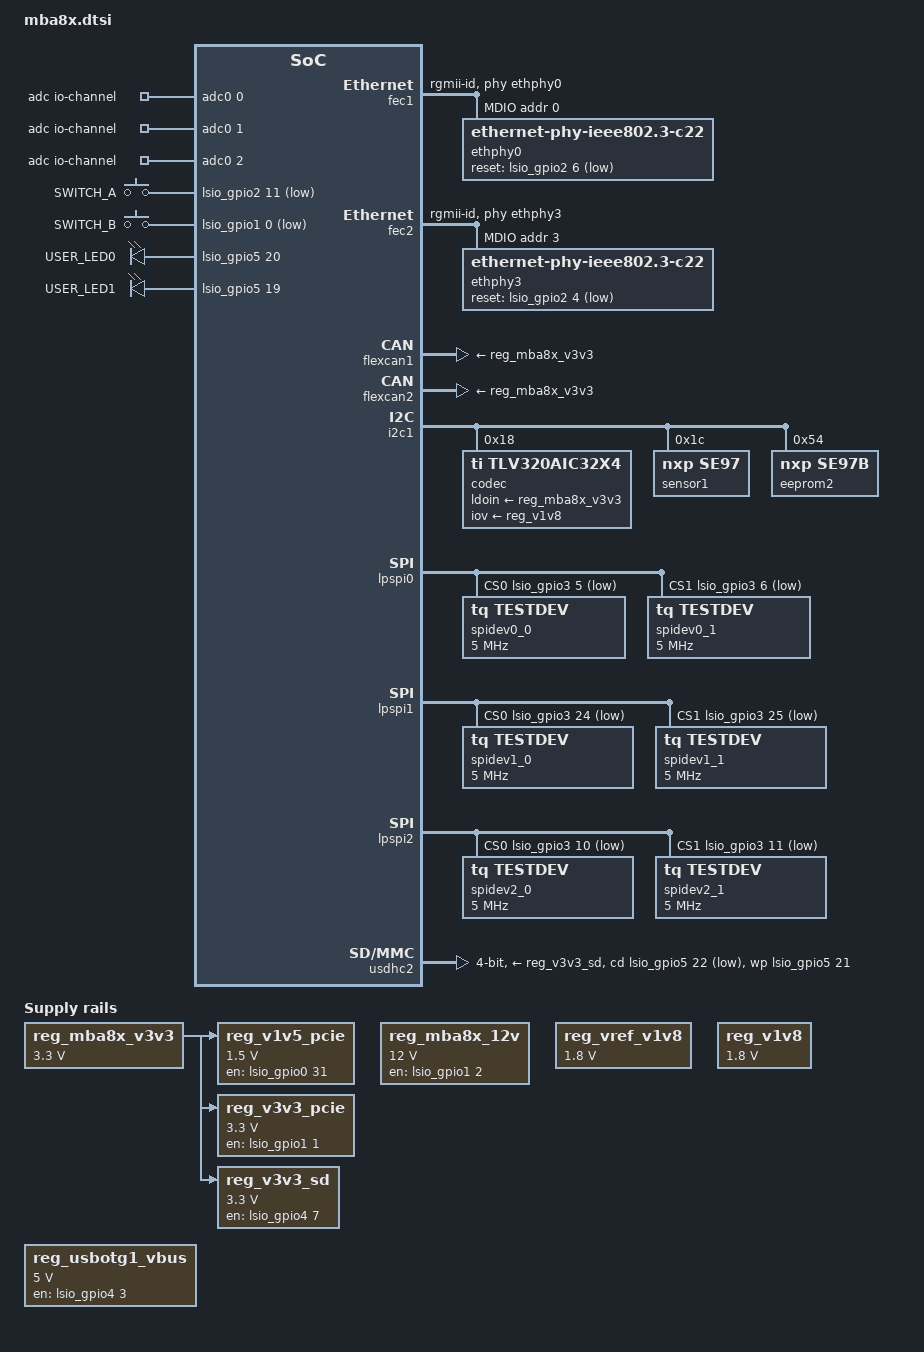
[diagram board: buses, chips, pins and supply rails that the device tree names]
// SPDX-License-Identifier: (GPL-2.0-or-later OR MIT)
/*
 * Copyright 2019-2021 TQ-Systems GmbH
 */

#include <dt-bindings/net/ti-dp83867.h>

/ {
	adc {
		compatible = "iio-hwmon";
		io-channels = <&adc0 0>, <&adc0 1>, <&adc0 2>;
	};

	gpio-keys {
		compatible = "gpio-keys";
		pinctrl-names = "default";
		pinctrl-0 = <&pinctrl_gpiokeys>;
		autorepeat;

		switch1 {
			label = "SWITCH_A";
			linux,code = <BTN_0>;
			gpios = <&lsio_gpio2 11 GPIO_ACTIVE_LOW>;
			wakeup-source;
		};

		switch2 {
			label = "SWITCH_B";
			linux,code = <BTN_1>;
			gpios = <&lsio_gpio1 0 GPIO_ACTIVE_LOW>;
			wakeup-source;
		};
	};

	gpio-leds {
		compatible = "gpio-leds";
		pinctrl-names = "default";
		pinctrl-0 = <&pinctrl_gpioled>;

		user-led0 {
			label = "USER_LED0";
			gpios = <&lsio_gpio5 20 GPIO_ACTIVE_HIGH>;
			linux,default-trigger = "heartbeat";
		};

		user-led1 {
			label = "USER_LED1";
			gpios = <&lsio_gpio5 19 GPIO_ACTIVE_HIGH>;
			default-state = "on";
		};
	};

	reg_mba8x_v3v3: mba8x_v3v3 {
		compatible = "regulator-fixed";
		regulator-name = "MBa8x-V3V3";
		regulator-min-microvolt = <3300000>;
		regulator-max-microvolt = <3300000>;
		regulator-always-on;
	};

	reg_mba8x_12v: mba8x_12v {
		pinctrl-names = "default";
		pinctrl-0 = <&pinctrl_reg_mba8x_12v>;
		compatible = "regulator-fixed";
		regulator-name = "MBa8x-V12";
		regulator-min-microvolt = <12000000>;
		regulator-max-microvolt = <12000000>;
		enable-active-high;
		gpio = <&lsio_gpio1 2 GPIO_ACTIVE_HIGH>;
	};

	reg_v1v5_pcie: v1v5_pcie {
		pinctrl-names = "default";
		pinctrl-0 = <&pinctrl_reg_pcie_v1v5>;
		compatible = "regulator-fixed";
		regulator-name = "V1V5_PCIE";
		regulator-min-microvolt = <1500000>;
		regulator-max-microvolt = <1500000>;
		vin-supply = <&reg_mba8x_v3v3>;
		enable-active-high;
		gpio = <&lsio_gpio0 31 GPIO_ACTIVE_HIGH>;
	};

	reg_vref_v1v8: regulator-vref-v1v8 {
		compatible = "regulator-fixed";
		regulator-name = "VREF_V1V8";
		regulator-min-microvolt = <1800000>;
		regulator-max-microvolt = <1800000>;
		regulator-always-on;
	};

	reg_v1v8: regulator-v1v8 {
		compatible = "regulator-fixed";
		regulator-name = "MBa8x-V1V8";
		regulator-min-microvolt = <1800000>;
		regulator-max-microvolt = <1800000>;
		regulator-always-on;
	};

	reg_v3v3_pcie: v3v3_pcie {
		pinctrl-names = "default";
		pinctrl-0 = <&pinctrl_reg_pcie_v3v3>;
		compatible = "regulator-fixed";
		regulator-name = "V3V3_PCIE";
		regulator-min-microvolt = <3300000>;
		regulator-max-microvolt = <3300000>;
		vin-supply = <&reg_mba8x_v3v3>;
		enable-active-high;
		gpio = <&lsio_gpio1 1 GPIO_ACTIVE_HIGH>;
		regulator-always-on;
	};

	reg_v3v3_sd: v3v3_sd {
		pinctrl-names = "default";
		pinctrl-0 = <&pinctrl_reg_v3v3_sd>;
		compatible = "regulator-fixed";
		regulator-name = "V3V3_SD";
		regulator-min-microvolt = <3300000>;
		regulator-max-microvolt = <3300000>;
		vin-supply = <&reg_mba8x_v3v3>;
		gpio = <&lsio_gpio4 7 GPIO_ACTIVE_HIGH>;
		enable-active-high;
		regulator-boot-on;
		off-on-delay-us = <200000>;
	};

	reg_usbotg1_vbus: regulator-usbotg1-vbus {
		compatible = "regulator-fixed";
		regulator-name = "USBOTG1_VBUS";
		pinctrl-names = "default";
		pinctrl-0 = <&pinctrl_reg_usbotg1_vbus>;
		regulator-min-microvolt = <5000000>;
		regulator-max-microvolt = <5000000>;
		gpio = <&lsio_gpio4 3 GPIO_ACTIVE_HIGH>;
		enable-active-high;
	};

	reserved-memory {
		#address-cells = <2>;
		#size-cells = <2>;
		ranges;

		dsp_reserved: dsp@92400000 {
			reg = <0 0x92400000 0 0x1000000>;
			no-map;
		};
		dsp_reserved_heap: dsp_reserved_heap {
			reg = <0 0x93400000 0 0xef0000>;
			no-map;
		};

		/* global autoconfigured region for contiguous allocations */
		linux,cma {
			compatible = "shared-dma-pool";
			reusable;
			size = <0 0x3c000000>;
			alloc-ranges = <0 0x96000000 0 0x3c000000>;
			linux,cma-default;
		};
	};

	sound {
		compatible = "fsl,imx-audio-tlv320aic32x4";
		model = "tqm-tlv320aic32";
		ssi-controller = <&sai1>;
		audio-codec = <&codec>;
	};
};

&fec1 {
	pinctrl-names = "default";
	pinctrl-0 = <&pinctrl_fec1>;
	phy-mode = "rgmii-id";
	phy-handle = <&ethphy0>;
	fsl,magic-packet;
	/* NXP starterkits share the mdio bus, we not */
	fsl,mii-exclusive;
	mac-address = [ 00 00 00 00 00 00 ];
	status = "okay";

	mdio {
		#address-cells = <1>;
		#size-cells = <0>;

		ethphy0: ethernet-phy@0 {
			compatible = "ethernet-phy-ieee802.3-c22";
			reg = <0>;
			ti,rx-internal-delay = <DP83867_RGMIIDCTL_2_25_NS>;
			ti,tx-internal-delay = <DP83867_RGMIIDCTL_2_25_NS>;
			ti,fifo-depth = <DP83867_PHYCR_FIFO_DEPTH_4_B_NIB>;
			ti,dp83867-rxctrl-strap-quirk;
			ti,clk-output-sel = <DP83867_CLK_O_SEL_OFF>;
			reset-gpios = <&lsio_gpio2 6 GPIO_ACTIVE_LOW>;
			reset-assert-us = <500000>;
			reset-deassert-us = <50000>;
			enet-phy-lane-no-swap;
			/* LED0: Link, LED2: activity */
			ti,led-function = <0x0100>;
			/* LED0/2: active High, driven by phy function */
			ti,led-ctrl = <0x1414>;
		};
	};
};

&fec2 {
	pinctrl-names = "default";
	pinctrl-0 = <&pinctrl_fec2>;
	phy-mode = "rgmii-id";
	phy-handle = <&ethphy3>;
	/* NXP starterkits share the mdio bus, we not */
	fsl,mii-exclusive;
	fsl,magic-packet;
	mac-address = [ 00 00 00 00 00 00 ];
	status = "okay";

	mdio {
		#address-cells = <1>;
		#size-cells = <0>;

		ethphy3: ethernet-phy@3 {
			compatible = "ethernet-phy-ieee802.3-c22";
			reg = <3>;
			ti,rx-internal-delay = <DP83867_RGMIIDCTL_2_25_NS>;
			ti,tx-internal-delay = <DP83867_RGMIIDCTL_2_25_NS>;
			ti,fifo-depth = <DP83867_PHYCR_FIFO_DEPTH_4_B_NIB>;
			ti,dp83867-rxctrl-strap-quirk;
			ti,clk-output-sel = <DP83867_CLK_O_SEL_OFF>;
			reset-gpios = <&lsio_gpio2 4 GPIO_ACTIVE_LOW>;
			reset-assert-us = <500000>;
			reset-deassert-us = <50000>;
			enet-phy-lane-no-swap;
			/* LED0: Link, LED2: activity */
			ti,led-function = <0x0100>;
			/* LED0/2: active High, driven by phy function */
			ti,led-ctrl = <0x1414>;
		};
	};
};

&flexcan1 {
	pinctrl-names = "default";
	pinctrl-0 = <&pinctrl_flexcan1>;
	xceiver-supply = <&reg_mba8x_v3v3>;
	status = "okay";
};

&flexcan2 {
	pinctrl-names = "default";
	pinctrl-0 = <&pinctrl_flexcan2>;
	xceiver-supply = <&reg_mba8x_v3v3>;
	status = "okay";
};

&i2c1 {
	codec: tlv320aic32x4@18 {
		compatible = "ti,tlv320aic32x4";
		reg = <0x18>;
		clocks = <&mclkout0_lpcg 0>;
		clock-names = "mclk";
		power-domains = <&pd IMX_SC_R_MCLK_OUT_0>;
		assigned-clocks = <&clk IMX_SC_R_AUDIO_PLL_0 IMX_SC_PM_CLK_PLL>,
				<&clk IMX_SC_R_AUDIO_PLL_0 IMX_SC_PM_CLK_SLV_BUS>,
				<&clk IMX_SC_R_AUDIO_PLL_0 IMX_SC_PM_CLK_MST_BUS>,
				<&mclkout0_lpcg 0>;
		assigned-clock-rates = <786432000>, <49152000>, <12288000>, <12288000>;
		ldoin-supply = <&reg_mba8x_v3v3>;
		iov-supply = <&reg_v1v8>;
	};

	sensor1: jc42@1c {
		compatible = "nxp,se97", "jedec,jc-42.4-temp";
		reg = <0x1c>;
	};

	eeprom2: 24c02@54 {
		compatible = "nxp,se97b", "atmel,24c02";
		reg = <0x54>;
		pagesize = <16>;
	};
};

&lpspi0 {
	#address-cells = <1>;
	#size-cells = <0>;
	pinctrl-names = "default";
	pinctrl-0 = <&pinctrl_lpspi0 &pinctrl_lpspi0_cs>;
	cs-gpios = <&lsio_gpio3 5 GPIO_ACTIVE_LOW>, <&lsio_gpio3 6 GPIO_ACTIVE_LOW>;
	status = "okay";

	spidev0_0: spidev0@0 {
		reg = <0>;
		compatible = "tq,testdev";
		spi-max-frequency = <5000000>;
		status = "okay";
	};

	spidev0_1: spidev0@1 {
		reg = <1>;
		compatible = "tq,testdev";
		spi-max-frequency = <5000000>;
		status = "okay";
	};
};

&lpspi1 {
	#address-cells = <1>;
	#size-cells = <0>;
	pinctrl-names = "default";
	pinctrl-0 = <&pinctrl_lpspi1 &pinctrl_lpspi1_cs>;
	cs-gpios = <&lsio_gpio3 24 GPIO_ACTIVE_LOW>, <&lsio_gpio3 25 GPIO_ACTIVE_LOW>;
	status = "okay";

	spidev1_0: spidev1@0 {
		reg = <0>;
		compatible = "tq,testdev";
		spi-max-frequency = <5000000>;
		status = "okay";
	};

	spidev1_1: spidev1@1 {
		reg = <1>;
		compatible = "tq,testdev";
		spi-max-frequency = <5000000>;
		status = "okay";
	};
};

&lpspi2 {
	#address-cells = <1>;
	#size-cells = <0>;
	pinctrl-names = "default";
	pinctrl-0 = <&pinctrl_lpspi2 &pinctrl_lpspi2_cs>;
	cs-gpios = <&lsio_gpio3 10 GPIO_ACTIVE_LOW>, <&lsio_gpio3 11 GPIO_ACTIVE_LOW>;
	status = "okay";

	spidev2_0: spidev2@0 {
		reg = <0>;
		compatible = "tq,testdev";
		spi-max-frequency = <5000000>;
		status = "okay";
	};

	spidev2_1: spidev2@1 {
		reg = <1>;
		compatible = "tq,testdev";
		spi-max-frequency = <5000000>;
		status = "okay";
	};
};

&pciea {
	ext_osc = <1>;
};

&pcieb {
	ext_osc = <1>;
};

&usdhc2 {
	pinctrl-names = "default", "state_100mhz", "state_200mhz";
	pinctrl-0 = <&pinctrl_usdhc2>, <&pinctrl_usdhc2_gpio>;
	pinctrl-1 = <&pinctrl_usdhc2_100mhz>, <&pinctrl_usdhc2_gpio>;
	pinctrl-2 = <&pinctrl_usdhc2_200mhz>, <&pinctrl_usdhc2_gpio>;
	bus-width = <4>;
	cd-gpios = <&lsio_gpio5 22 GPIO_ACTIVE_LOW>;
	wp-gpios = <&lsio_gpio5 21 GPIO_ACTIVE_HIGH>;
	vmmc-supply = <&reg_v3v3_sd>;
	no-mmc;
	no-sdio;
	status = "okay";
};
